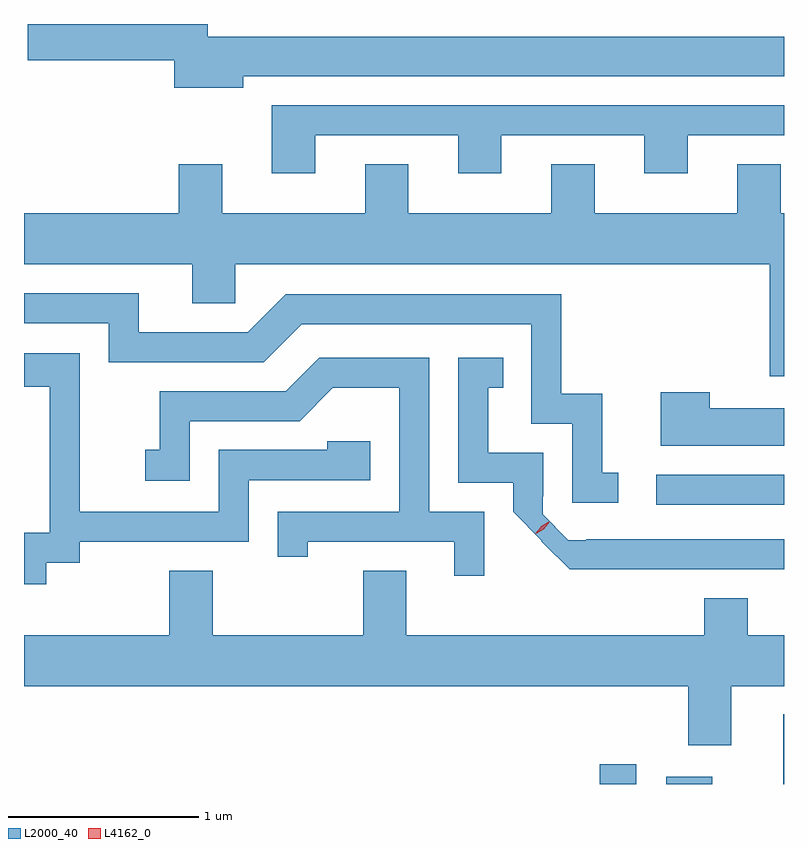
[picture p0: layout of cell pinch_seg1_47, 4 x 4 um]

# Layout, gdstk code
import gdstk
lib = gdstk.Library(unit=1e-6, precision=1e-09)
def R(c, l, rs):  # rectangles x0, y0, x1, y1
    for r in rs: c.add(gdstk.rectangle(r[:2], r[2:], *l))
def P(c, l, *ps):  # polygons
    for p in ps: c.add(gdstk.Polygon(p, *l))
L2000_40 = (2000, 40)
L4162_0 = (4162, 0)

pinch_seg1_47 = lib.new_cell('pinch_seg1_47')
R(pinch_seg1_47, L2000_40, [(1466.286,856.881,1466.479,856.984), (1466.636,856.881,1466.879,856.919), (1467.251,856.881,1467.256,857.248), (1466.583,858.351,1467.256,858.509)])
P(pinch_seg1_47, L2000_40, [(1464.409,860.606),(1467.256,860.606),(1467.256,860.814),(1464.224,860.814),(1464.224,860.881),(1463.276,860.881),(1463.276,860.691),(1464.046,860.691),(1464.046,860.546),(1464.409,860.546)],
  [(1464.789,860.296),(1465.541,860.296),(1465.541,860.096),(1465.769,860.096),(1465.769,860.296),(1466.521,860.296),(1466.521,860.096),(1466.749,860.096),(1466.749,860.296),(1467.256,860.296),(1467.256,860.454),(1464.561,860.454),(1464.561,860.096),(1464.789,860.096)],
  [(1467.256,859.884),(1467.239,859.884),(1467.239,860.144),(1467.011,860.144),(1467.011,859.884),(1466.259,859.884),(1466.259,860.144),(1466.031,860.144),(1466.031,859.884),(1465.279,859.884),(1465.279,860.144),(1465.051,860.144),(1465.051,859.884),(1464.299,859.884),(1464.299,860.144),(1464.071,860.144),(1464.071,859.884),(1463.256,859.884),(1463.256,859.616),(1464.141,859.616),(1464.141,859.411),(1464.369,859.411),(1464.369,859.616),(1467.181,859.616),(1467.181,859.026),(1467.256,859.026)],
  [(1466.383,858.519),(1466.299,858.519),(1466.299,858.934),(1466.084,858.934),(1466.084,859.459),(1464.634,859.459),(1464.434,859.259),(1463.859,859.259),(1463.859,859.464),(1463.256,859.464),(1463.256,859.306),(1463.701,859.306),(1463.701,859.101),(1464.517,859.101),(1464.717,859.301),(1465.926,859.301),(1465.926,858.776),(1466.141,858.776),(1466.141,858.361),(1466.383,858.361)],
  [(1463.374,858.046),(1463.549,858.046),(1463.549,858.156),(1464.439,858.156),(1464.439,858.481),(1465.079,858.481),(1465.079,858.684),(1464.851,858.684),(1464.851,858.639),(1464.281,858.639),(1464.281,858.314),(1463.549,858.314),(1463.549,859.149),(1463.256,859.149),(1463.256,858.971),(1463.391,858.971),(1463.391,858.204),(1463.256,858.204),(1463.256,857.933),(1463.374,857.933)],
  [(1467.256,858.169),(1466.215,858.169),(1466.215,858.165),(1466.121,858.165),(1465.985,858.301),(1465.985,858.395),(1465.989,858.395),(1465.989,858.624),(1465.699,858.624),(1465.699,858.966),(1465.778,858.966),(1465.778,859.124),(1465.541,859.124),(1465.541,858.466),(1465.831,858.466),(1465.831,858.313),(1465.982,858.162),(1465.978,858.158),(1466.057,858.08),(1466.059,858.081),(1466.129,858.011),(1467.256,858.011)],
  [(1465.679,858.314),(1465.389,858.314),(1465.389,859.124),(1464.809,859.124),(1464.634,858.949),(1463.971,858.949),(1463.971,858.639),(1463.893,858.639),(1463.893,858.476),(1464.129,858.476),(1464.129,858.791),(1464.707,858.791),(1464.882,858.966),(1465.231,858.966),(1465.231,858.314),(1464.591,858.314),(1464.591,858.078),(1464.749,858.078),(1464.749,858.156),(1465.521,858.156),(1465.521,857.978),(1465.679,857.978)],
  [(1467.256,858.859),(1466.864,858.859),(1466.864,858.944),(1466.606,858.944),(1466.606,858.661),(1467.256,858.661)],
  [(1466.979,857.396),(1467.256,857.396),(1467.256,857.664),(1467.064,857.664),(1467.064,857.859),(1466.836,857.859),(1466.836,857.664),(1465.269,857.664),(1465.269,858.004),(1465.041,858.004),(1465.041,857.664),(1464.249,857.664),(1464.249,858.004),(1464.021,858.004),(1464.021,857.664),(1463.256,857.664),(1463.256,857.396),(1466.751,857.396),(1466.751,857.086),(1466.979,857.086)])
P(pinch_seg1_47, L4162_0, [(1465.948,858.197),(1465.948,858.197),(1465.98,858.237),(1466.023,858.262),(1466.024,858.262),(1466.024,858.262),(1465.992,858.222),(1465.949,858.197)],
  [(1465.951,858.201),(1465.951,858.202),(1465.978,858.238),(1466.018,858.261),(1466.018,858.261),(1466.018,858.26),(1465.991,858.224),(1465.952,858.201)])

lib.write_gds('pinch_seg1_47.gds')
